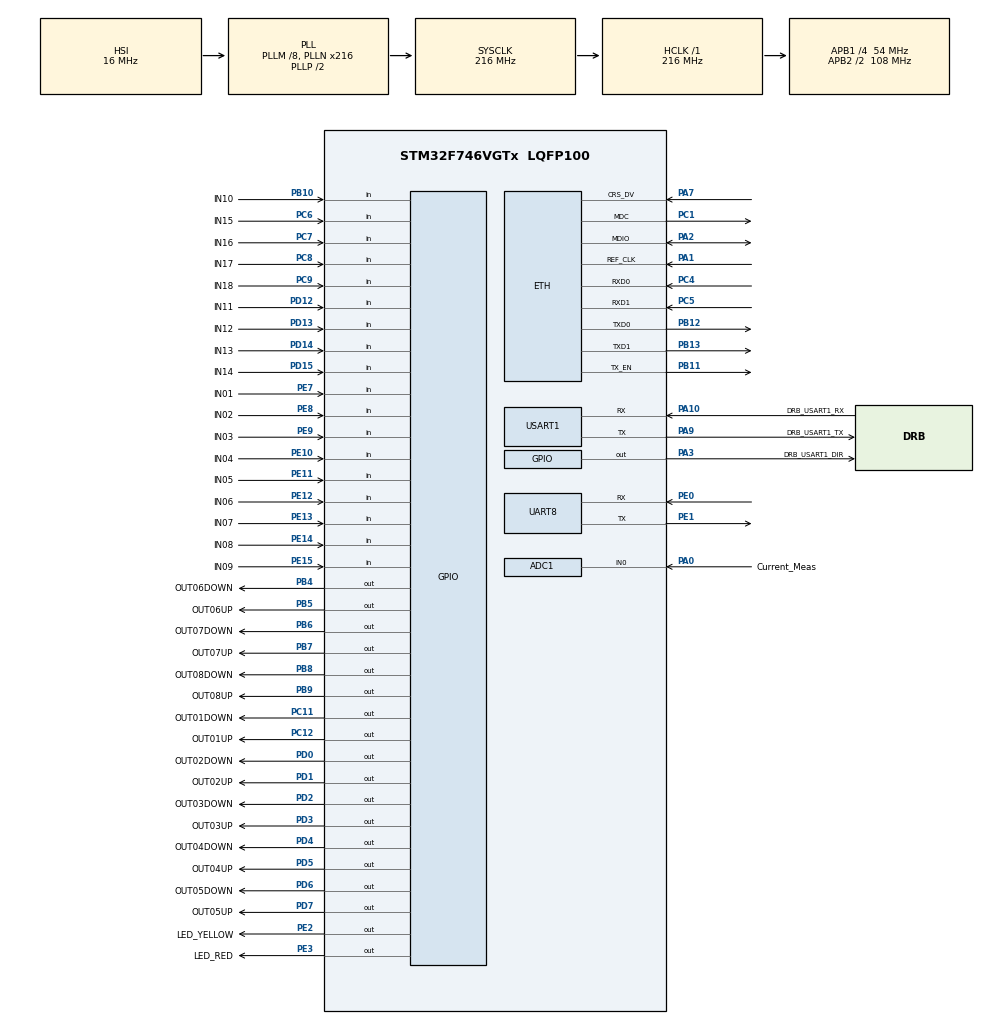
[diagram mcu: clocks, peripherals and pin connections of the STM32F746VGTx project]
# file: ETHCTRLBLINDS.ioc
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ADC1.Channel-4\#ChannelRegularConversion=ADC_CHANNEL_0
ADC1.ClockPrescaler=ADC_CLOCK_SYNC_PCLK_DIV8
ADC1.ContinuousConvMode=ENABLE
ADC1.DMAContinuousRequests=ENABLE
ADC1.EOCSelection=ADC_EOC_SINGLE_CONV
ADC1.InjNumberOfConversion=0
ADC1.NbrOfConversion=1
ADC1.NbrOfConversionFlag=1
ADC1.Rank-4\#ChannelRegularConversion=1
ADC1.SamplingTime-4\#ChannelRegularConversion=ADC_SAMPLETIME_480CYCLES
ADC1.ScanConvMode=ADC_SCAN_DISABLE
ADC1.master=1
CORTEX_M7.CPU_DCache=Disabled
CORTEX_M7.CPU_ICache=Enabled
CORTEX_M7.MPU_Control=__NULL
Dma.ADC1.0.Direction=DMA_PERIPH_TO_MEMORY
Dma.ADC1.0.FIFOMode=DMA_FIFOMODE_DISABLE
Dma.ADC1.0.Instance=DMA2_Stream0
Dma.ADC1.0.MemDataAlignment=DMA_MDATAALIGN_HALFWORD
Dma.ADC1.0.MemInc=DMA_MINC_ENABLE
Dma.ADC1.0.Mode=DMA_CIRCULAR
Dma.ADC1.0.PeriphDataAlignment=DMA_PDATAALIGN_HALFWORD
Dma.ADC1.0.PeriphInc=DMA_PINC_DISABLE
Dma.ADC1.0.Priority=DMA_PRIORITY_MEDIUM
Dma.Request0=ADC1
ETH.AutoNegotiation=ETH_AUTONEGOTIATION_DISABLE
ETH.DuplexMode=ETH_MODE_FULLDUPLEX
ETH.MediaInterface=HAL_ETH_RMII_MODE
ETH.PHY_Name_RMII=userPHY
ETH.PHY_User_Name=KSZ8081
FREERTOS.HEAP_NUMBER=3
FREERTOS.INCLUDE_vTaskPrioritySet=1
FREERTOS.Tasks01=defaultTask,24,256,StartDefaultTask,Default,NULL,Dynamic,NULL,NULL;MqttClientTask,22,512,MqttClient_StartTask,As weak,NULL,Dynamic,NULL,NULL;ScanInputTask,25,512,Dio_StartScanInputTask,As weak,&hadc1,Dynamic,NULL,NULL
FREERTOS.configCHECK_FOR_STACK_OVERFLOW=2
FREERTOS.configENABLE_BACKWARD_COMPATIBILITY=0
FREERTOS.configGENERATE_RUN_TIME_STATS=1
FREERTOS.configMINIMAL_STACK_SIZE=128
FREERTOS.configRECORD_STACK_HIGH_ADDRESS=1
FREERTOS.configTOTAL_HEAP_SIZE=30720
FREERTOS.configUSE_MALLOC_FAILED_HOOK=1
FREERTOS.configUSE_NEWLIB_REENTRANT=1
FREERTOS.configUSE_STATS_FORMATTING_FUNCTIONS=1
LWIP.BSP.number=1
LWIP.CMSIS_VERSION-Enabled=1
LWIP.DEFAULT_THREAD_STACKSIZE=128
LWIP.HTTPD_USE_CUSTOM_FSDATA=1
LWIP.HTTPD_USE_MEM_POOL=0
LWIP.LWIP_ALLOW_MEM_FREE_FROM_OTHER_CONTEXT=1
LWIP.LWIP_AUTOIP=1
LWIP.LWIP_DBG_MIN_LEVEL=LWIP_DBG_LEVEL_ALL
LWIP.LWIP_DHCP_AUTOIP_COOP=1
LWIP.LWIP_DHCP_AUTOIP_COOP_TRIES=1
LWIP.LWIP_DNS=1
LWIP.LWIP_HTTPD=1
LWIP.LWIP_HTTPD_ABORT_ON_CLOSE_MEM_ERROR=1
LWIP.LWIP_HTTPD_CGI=1
LWIP.LWIP_HTTPD_DYNAMIC_HEADERS=1
LWIP.LWIP_HTTPD_KILL_OLD_ON_CONNECTIONS_EXCEEDED=1
LWIP.LWIP_HTTPD_MAX_CGI_PARAMETERS=48
LWIP.LWIP_HTTPD_MAX_REQ_LENGTH=1023
LWIP.LWIP_HTTPD_MAX_TAG_INSERT_LEN=800
LWIP.LWIP_HTTPD_MAX_TAG_NAME_LEN=10
LWIP.LWIP_HTTPD_REQ_BUFSIZE=2048
LWIP.LWIP_HTTPD_SSI=1
LWIP.LWIP_HTTPD_SUPPORT_POST=0
LWIP.LWIP_IGMP=1
LWIP.LWIP_MDNS=1
LWIP.LWIP_MDNS_RESPONDER=1
LWIP.LWIP_MULTICAST_PING=1
LWIP.LWIP_MULTICAST_TX_OPTIONS=1
LWIP.LWIP_NETIF_EXT_STATUS_CALLBACK=0
LWIP.LWIP_NETIF_HOSTNAME=1
LWIP.LWIP_NETIF_STATUS_CALLBACK=1
LWIP.LWIP_NUM_NETIF_CLIENT_DATA=1
LWIP.LWIP_RAM_HEAP_POINTER=0x20040000
LWIP.LWIP_SINGLE_NETIF=1
LWIP.LWIP_TCPIP_CORE_LOCKING=1
LWIP.LWIP_TCPIP_CORE_LOCKING_INPUT=0
LWIP.LWIP_TCPIP_TIMEOUT=1
LWIP.MDNS_DEBUG=LWIP_DBG_OFF
LWIP.MDNS_MAX_SERVICES=1
LWIP.MDNS_RESP_USENETIF_EXTCALLBACK=1
LWIP.MEMP_DEBUG=LWIP_DBG_OFF
LWIP.MEMP_MEM_INIT=1
LWIP.MEMP_NUM_PBUF=64
LWIP.MEMP_NUM_SYS_TIMEOUT=12
LWIP.MEMP_NUM_TCP_PCB=6
LWIP.MEMP_NUM_TCP_PCB_LISTEN=10
LWIP.MEMP_NUM_TCP_SEG=16
LWIP.MEMP_NUM_UDP_PCB=6
LWIP.MEMP_OVERFLOW_CHECK=1
LWIP.MEMP_SANITY_CHECK=1
LWIP.MEM_DEBUG=LWIP_DBG_OFF
LWIP.MEM_OVERFLOW_CHECK=1
LWIP.MEM_SANITY_CHECK=1
LWIP.MEM_SIZE=61440
LWIP.NETIF_DEBUG=LWIP_DBG_OFF
LWIP.PBUF_DEBUG=LWIP_DBG_OFF
LWIP.PBUF_POOL_BUFSIZE=2048
LWIP.PBUF_POOL_SIZE=64
LWIP.SLIPIF_THREAD_STACKSIZE=128
LWIP.TCPIP_THREAD_PRIO=49
LWIP.TCPIP_THREAD_STACKSIZE=4096
LWIP.TCP_OUTPUT_DEBUG=LWIP_DBG_OFF
LWIP.TCP_SND_BUF=2048
LWIP.TCP_SND_QUEUELEN=9
LWIP.TIMERS_DEBUG=LWIP_DBG_OFF
LWIP.Version=v2.1.2_Cube
LWIP0.BSP.STBoard=false
LWIP0.BSP.api=BSP_COMPONENT_DRIVER
LWIP0.BSP.component=USER_PHY
LWIP0.BSP.instance=USER_PHY
LWIP0.BSP.name=Driver_PHY
LWIP0.BSP.semaphore=S_USER_PHY
LWIP0.BSP.solution=USER_PHY
Mcu.Family=STM32F7
Mcu.Name=STM32F746VGTx
Mcu.Package=LQFP100
Mcu.UserConstants=MQTT_REQ_MAX_IN_FLIGHT,70;LWIP_NUM_NETIF_CLIENT_DATA,1;MQTT_OUTPUT_RINGBUF_SIZE,1024;LWIP_DEBUG,1
NVIC.DMA2_Stream0_IRQn=true\:5\:0\:false\:false\:true\:true\:false\:true\:true
NVIC.ETH_IRQn=true\:5\:0\:false\:false\:true\:true\:false\:true\:true
NVIC.PriorityGroup=NVIC_PRIORITYGROUP_4
NVIC.TIM1_UP_TIM10_IRQn=true\:0\:0\:false\:false\:true\:false\:false\:true\:true
NVIC.TimeBase=TIM1_UP_TIM10_IRQn
NVIC.TimeBaseIP=TIM1
PA0/WKUP.GPIO_Label=Current_Meas
PA0/WKUP.Signal=ADCx_IN0
PA1.Mode=RMII
PA1.Signal=ETH_REF_CLK
PA10.GPIO_Label=DRB_USART1_RX
PA10.Mode=Asynchronous
PA10.Signal=USART1_RX
PA2.Mode=RMII
PA2.Signal=ETH_MDIO
PA3.GPIO_Label=DRB_USART1_DIR
PA3.Signal=GPIO_Output
PA7.Mode=RMII
PA7.Signal=ETH_CRS_DV
PA9.GPIO_Label=DRB_USART1_TX
PA9.Mode=Asynchronous
PA9.Signal=USART1_TX
PB10.GPIO_Label=IN10
PB10.GPIO_PuPd=GPIO_PULLDOWN
PB10.Signal=GPIO_Input
PB11.Mode=RMII
PB11.Signal=ETH_TX_EN
PB12.Mode=RMII
PB12.Signal=ETH_TXD0
PB13.Mode=RMII
PB13.Signal=ETH_TXD1
PB4.GPIO_Label=OUT06DOWN
PB4.GPIO_ModeDefaultOutputPP=GPIO_MODE_OUTPUT_PP
PB4.GPIO_PuPd=GPIO_NOPULL
PB4.GPIO_Speed=GPIO_SPEED_FREQ_LOW
PB4.PinState=GPIO_PIN_RESET
PB4.Signal=GPIO_Output
PB5.GPIO_Label=OUT06UP
PB5.GPIO_ModeDefaultOutputPP=GPIO_MODE_OUTPUT_PP
PB5.GPIO_PuPd=GPIO_NOPULL
PB5.GPIO_Speed=GPIO_SPEED_FREQ_LOW
PB5.PinState=GPIO_PIN_RESET
PB5.Signal=GPIO_Output
PB6.GPIO_Label=OUT07DOWN
PB6.GPIO_ModeDefaultOutputPP=GPIO_MODE_OUTPUT_PP
PB6.GPIO_PuPd=GPIO_NOPULL
PB6.GPIO_Speed=GPIO_SPEED_FREQ_LOW
PB6.PinState=GPIO_PIN_RESET
PB6.Signal=GPIO_Output
PB7.GPIO_Label=OUT07UP
PB7.GPIO_ModeDefaultOutputPP=GPIO_MODE_OUTPUT_PP
PB7.GPIO_PuPd=GPIO_NOPULL
PB7.GPIO_Speed=GPIO_SPEED_FREQ_LOW
PB7.PinState=GPIO_PIN_RESET
PB7.Signal=GPIO_Output
PB8.GPIO_Label=OUT08DOWN
PB8.GPIO_ModeDefaultOutputPP=GPIO_MODE_OUTPUT_PP
PB8.GPIO_PuPd=GPIO_NOPULL
PB8.GPIO_Speed=GPIO_SPEED_FREQ_LOW
PB8.PinState=GPIO_PIN_RESET
PB8.Signal=GPIO_Output
PB9.GPIO_Label=OUT08UP
PB9.GPIO_ModeDefaultOutputPP=GPIO_MODE_OUTPUT_PP
PB9.GPIO_PuPd=GPIO_NOPULL
PB9.GPIO_Speed=GPIO_SPEED_FREQ_LOW
PB9.PinState=GPIO_PIN_RESET
PB9.Signal=GPIO_Output
PC1.Mode=RMII
PC1.Signal=ETH_MDC
PC11.GPIO_Label=OUT01DOWN
PC11.GPIO_ModeDefaultOutputPP=GPIO_MODE_OUTPUT_PP
PC11.GPIO_PuPd=GPIO_NOPULL
PC11.GPIO_Speed=GPIO_SPEED_FREQ_LOW
PC11.PinState=GPIO_PIN_RESET
PC11.Signal=GPIO_Output
PC12.GPIO_Label=OUT01UP
PC12.GPIO_ModeDefaultOutputPP=GPIO_MODE_OUTPUT_PP
PC12.GPIO_PuPd=GPIO_NOPULL
PC12.GPIO_Speed=GPIO_SPEED_FREQ_LOW
PC12.PinState=GPIO_PIN_RESET
PC12.Signal=GPIO_Output
PC4.Mode=RMII
PC4.Signal=ETH_RXD0
PC5.Mode=RMII
PC5.Signal=ETH_RXD1
PC6.GPIO_Label=IN15
PC6.GPIO_PuPd=GPIO_PULLDOWN
PC6.Signal=GPIO_Input
PC7.GPIO_Label=IN16
PC7.GPIO_PuPd=GPIO_PULLDOWN
PC7.Signal=GPIO_Input
PC8.GPIO_Label=IN17
PC8.GPIO_PuPd=GPIO_PULLDOWN
PC8.Signal=GPIO_Input
PC9.GPIO_Label=IN18
PC9.GPIO_PuPd=GPIO_PULLDOWN
PC9.Signal=GPIO_Input
PD0.GPIO_Label=OUT02DOWN
PD0.GPIO_ModeDefaultOutputPP=GPIO_MODE_OUTPUT_PP
PD0.GPIO_PuPd=GPIO_NOPULL
PD0.GPIO_Speed=GPIO_SPEED_FREQ_LOW
PD0.PinState=GPIO_PIN_RESET
PD0.Signal=GPIO_Output
PD1.GPIO_Label=OUT02UP
PD1.GPIO_ModeDefaultOutputPP=GPIO_MODE_OUTPUT_PP
PD1.GPIO_PuPd=GPIO_NOPULL
PD1.GPIO_Speed=GPIO_SPEED_FREQ_LOW
PD1.PinState=GPIO_PIN_RESET
PD1.Signal=GPIO_Output
PD12.GPIO_Label=IN11
PD12.GPIO_PuPd=GPIO_PULLDOWN
PD12.Signal=GPIO_Input
PD13.GPIO_Label=IN12
PD13.GPIO_PuPd=GPIO_PULLDOWN
PD13.Signal=GPIO_Input
PD14.GPIO_Label=IN13
PD14.GPIO_PuPd=GPIO_PULLDOWN
PD14.Signal=GPIO_Input
PD15.GPIO_Label=IN14
PD15.GPIO_PuPd=GPIO_PULLDOWN
PD15.Signal=GPIO_Input
PD2.GPIO_Label=OUT03DOWN
PD2.GPIO_ModeDefaultOutputPP=GPIO_MODE_OUTPUT_PP
PD2.GPIO_PuPd=GPIO_NOPULL
PD2.GPIO_Speed=GPIO_SPEED_FREQ_LOW
PD2.PinState=GPIO_PIN_RESET
PD2.Signal=GPIO_Output
PD3.GPIO_Label=OUT03UP
PD3.GPIO_ModeDefaultOutputPP=GPIO_MODE_OUTPUT_PP
PD3.GPIO_PuPd=GPIO_NOPULL
PD3.GPIO_Speed=GPIO_SPEED_FREQ_LOW
PD3.PinState=GPIO_PIN_RESET
PD3.Signal=GPIO_Output
PD4.GPIO_Label=OUT04DOWN
PD4.GPIO_ModeDefaultOutputPP=GPIO_MODE_OUTPUT_PP
PD4.GPIO_PuPd=GPIO_NOPULL
PD4.GPIO_Speed=GPIO_SPEED_FREQ_LOW
PD4.PinState=GPIO_PIN_RESET
PD4.Signal=GPIO_Output
PD5.GPIO_Label=OUT04UP
PD5.GPIO_ModeDefaultOutputPP=GPIO_MODE_OUTPUT_PP
PD5.GPIO_PuPd=GPIO_NOPULL
PD5.GPIO_Speed=GPIO_SPEED_FREQ_LOW
PD5.PinState=GPIO_PIN_RESET
PD5.Signal=GPIO_Output
PD6.GPIO_Label=OUT05DOWN
PD6.GPIO_ModeDefaultOutputPP=GPIO_MODE_OUTPUT_PP
PD6.GPIO_PuPd=GPIO_NOPULL
PD6.GPIO_Speed=GPIO_SPEED_FREQ_LOW
PD6.PinState=GPIO_PIN_RESET
PD6.Signal=GPIO_Output
PD7.GPIO_Label=OUT05UP
PD7.GPIO_ModeDefaultOutputPP=GPIO_MODE_OUTPUT_PP
PD7.GPIO_PuPd=GPIO_NOPULL
PD7.GPIO_Speed=GPIO_SPEED_FREQ_LOW
PD7.PinState=GPIO_PIN_RESET
PD7.Signal=GPIO_Output
PE0.Mode=Asynchronous
PE0.Signal=UART8_RX
PE1.Mode=Asynchronous
PE1.Signal=UART8_TX
PE10.GPIO_Label=IN04
PE10.GPIO_PuPd=GPIO_PULLDOWN
PE10.Signal=GPIO_Input
PE11.GPIO_Label=IN05
PE11.GPIO_PuPd=GPIO_PULLDOWN
PE11.Signal=GPIO_Input
PE12.GPIO_Label=IN06
PE12.GPIO_PuPd=GPIO_PULLDOWN
PE12.Signal=GPIO_Input
PE13.GPIO_Label=IN07
PE13.GPIO_PuPd=GPIO_PULLDOWN
PE13.Signal=GPIO_Input
PE14.GPIO_Label=IN08
PE14.GPIO_PuPd=GPIO_PULLDOWN
PE14.Signal=GPIO_Input
PE15.GPIO_Label=IN09
PE15.GPIO_PuPd=GPIO_PULLDOWN
PE15.Signal=GPIO_Input
PE2.GPIO_Label=LED_YELLOW
PE2.PinState=GPIO_PIN_SET
PE2.Signal=GPIO_Output
PE3.GPIO_Label=LED_RED
PE3.GPIO_PuPd=GPIO_NOPULL
PE3.PinState=GPIO_PIN_RESET
PE3.Signal=GPIO_Output
PE7.GPIO_Label=IN01
PE7.GPIO_PuPd=GPIO_PULLDOWN
PE7.Signal=GPIO_Input
PE8.GPIO_Label=IN02
PE8.GPIO_PuPd=GPIO_PULLDOWN
PE8.Signal=GPIO_Input
PE9.GPIO_Label=IN03
PE9.GPIO_PuPd=GPIO_PULLDOWN
PE9.Signal=GPIO_Input
PH0/OSC_IN.Mode=HSE-External-Oscillator
PH0/OSC_IN.Signal=RCC_OSC_IN
PH1/OSC_OUT.Mode=HSE-External-Oscillator
PH1/OSC_OUT.Signal=RCC_OSC_OUT
ProjectManager.HeapSize=0x200
ProjectManager.StackSize=0x400
ProjectManager.TargetToolchain=CMake
RCC.AHBFreq_Value=216000000
RCC.APB1CLKDivider=RCC_HCLK_DIV4
RCC.APB1Freq_Value=54000000
RCC.APB1TimFreq_Value=108000000
RCC.APB2CLKDivider=RCC_HCLK_DIV2
RCC.APB2Freq_Value=108000000
RCC.APB2TimFreq_Value=216000000
RCC.CortexFreq_Value=216000000
RCC.HCLKFreq_Value=216000000
RCC.HSE_VALUE=12000000
RCC.HSI_VALUE=16000000
RCC.LSE_VALUE=32768
RCC.PLLM=8
RCC.PLLN=216
RCC.SYSCLKFreq_VALUE=216000000
RCC.SYSCLKSource=RCC_SYSCLKSOURCE_PLLCLK
RCC.USBFreq_Value=216000000
RCC.VCOOutputFreq_Value=432000000
SH.ADCx_IN0.0=ADC1_IN0,IN0
USART1.VirtualMode-Asynchronous=VM_ASYNC
VP_FREERTOS_VS_CMSIS_V2.Mode=CMSIS_V2
VP_LWIP_VS_Enabled.Mode=Enabled
VP_SYS_VS_tim1.Mode=TIM1
board=custom

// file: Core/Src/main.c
/* USER CODE BEGIN Header */
/**
  ******************************************************************************
  * @file           : main.c
  * @brief          : Main program body
  ******************************************************************************
  * @attention
  *
  * <h2><center>&copy; Copyright (c) 2021 STMicroelectronics.
  * All rights reserved.</center></h2>
  *
  * This software component is licensed by ST under BSD 3-Clause license,
  * the "License"; You may not use this file except in compliance with the
  * License. You may obtain a copy of the License at:
  *                        opensource.org/licenses/BSD-3-Clause
  *
  ******************************************************************************
  */
/* USER CODE END Header */
#include "main.h"
#include "cmsis_os.h"
#include "lwip.h"

/* USER CODE BEGIN Includes */
#include  <errno.h>
#include  <sys/unistd.h> // STDOUT_FILENO, STDERR_FILENO
#include "MqttClient.h"
#include "lwip/apps/httpd.h"
#include "string.h"
#include <stdio.h>
#include <stdbool.h>
#include "web.h"
#include "dio.h"
#include "lwip/apps/mdns.h"
#include "jumpcode.h"
/* USER CODE END Includes */

ADC_HandleTypeDef hadc1;
DMA_HandleTypeDef hdma_adc1;

UART_HandleTypeDef huart8;
UART_HandleTypeDef huart1;

/* Definitions for defaultTask */
osThreadId_t defaultTaskHandle;
const osThreadAttr_t defaultTask_attributes = {
  .name = "defaultTask",
  .stack_size = 256 * 4,
  .priority = (osPriority_t) osPriorityNormal,
};
/* Definitions for MqttClientTask */
osThreadId_t MqttClientTaskHandle;
const osThreadAttr_t MqttClientTask_attributes = {
  .name = "MqttClientTask",
  .stack_size = 512 * 4,
  .priority = (osPriority_t) osPriorityBelowNormal6,
};
/* Definitions for ScanInputTask */
osThreadId_t ScanInputTaskHandle;
const osThreadAttr_t ScanInputTask_attributes = {
  .name = "ScanInputTask",
  .stack_size = 512 * 4,
  .priority = (osPriority_t) osPriorityNormal1,
};
/* USER CODE BEGIN PV */

uint8_t reset = 0;

static char mqtttopic[] = "ETH_CTRL_B";
struct ee_storage_s eemqtttopic = {
		.VirtAddrStartNb = 1,
		.VirtWordCount = 5,
		.pData = (uint16_t*)mqtttopic};

uint32_t blindmovingtimeup[] = {120000,120000,120000,120000,120000,120000,120000,120000};
struct ee_storage_s eeblindmovingtimeup = {
		.VirtAddrStartNb = 13,
		.VirtWordCount = 16,
		.pData = (uint16_t*)&blindmovingtimeup};

uint32_t blindmovingtimedown[] = {120000,120000,120000,120000,120000,120000,120000,120000};
struct ee_storage_s eeblindmovingtimedown = {
        .VirtAddrStartNb = 29,
        .VirtWordCount = 16,
        .pData = (uint16_t*)&blindmovingtimedown};

uint16_t currentthreshold  = 200;
struct ee_storage_s eecurrentthreshold = {
        .VirtAddrStartNb = 45,
        .VirtWordCount = 1,
        .pData = (uint16_t*)&eecurrentthreshold};

uint8_t blindpos50[] = {50,50,50,50,50,50,50,50};
struct ee_storage_s eeblindpos50 = {
        .VirtAddrStartNb = 46,
        .VirtWordCount = 4,
        .pData = (uint16_t*)&blindpos50};

bool raffstore[] = {false,false,false,false,false,false,false,false};
struct ee_storage_s eeraffstore = {
        .VirtAddrStartNb = 50,
        .VirtWordCount = 4,
        .pData = (uint16_t*)&raffstore};

uint16_t raffmovingtime[] = {1000,1000,1000,1000,1000,1000,1000,1000};
struct ee_storage_s eeraffmovingtime = {
        .VirtAddrStartNb = 54,
        .VirtWordCount = 8,
        .pData = (uint16_t*)&raffmovingtime};

uint16_t blindinputmatrix[] = {1+256,2+256,4+256,8+256,16+256,32+256,64+256,128+256};
struct ee_storage_s eeblindinputmatrix = {
        .VirtAddrStartNb = 62,
        .VirtWordCount = 8,
        .pData = (uint16_t*)&blindinputmatrix};

bool position_function_active[] = {true,true,true,true,true,true,true,true};
struct ee_storage_s eeposition_function_active = {
        .VirtAddrStartNb = 70,
        .VirtWordCount = 4,
        .pData = (uint16_t*)&position_function_active};

static union
{
  char host[MQTT_HOST_STORAGE_LEN];
  uint16_t words[MQTT_HOST_STORAGE_LEN / 2U];
} mqtthost_storage = {.host = "192.168.1.3"};

struct ee_storage_s eemqtthost = {
  .VirtAddrStartNb = 74,
  .VirtWordCount = (MQTT_HOST_STORAGE_LEN / 2U),
  .pData = mqtthost_storage.words};

uint16_t VirtAddVarTab[90];
/* USER CODE END PV */

void SystemClock_Config(void);
static void MX_GPIO_Init(void);
static void MX_DMA_Init(void);
static void MX_ADC1_Init(void);
static void MX_UART8_Init(void);
static void MX_USART1_UART_Init(void);
void StartDefaultTask(void *argument);
void MqttClient_StartTask(void *argument);
void Dio_StartScanInputTask(void *argument);

/* USER CODE BEGIN 0 */
int _write(int file, char *data, int len)
{
   if ((file != STDOUT_FILENO) && (file != STDERR_FILENO))
   {
      errno = EBADF;
      return -1;
   }

   HAL_UART_Transmit(&huart8, (uint8_t*)data, len, 1000);

   for(int i=0 ; i<len ; i++)
   {
	 ITM_SendChar((*data++));
   }

   return 0;
}

/* USER CODE END 0 */

int main(void)
{

  /* Enable the CPU Cache */

  /* Enable I-Cache---------------------------------------------------------*/
  SCB_EnableICache();

  /* MCU Configuration--------------------------------------------------------*/

  /* Reset of all peripherals, Initializes the Flash interface and the Systick. */
  HAL_Init();

  /* Configure the system clock */
  SystemClock_Config();

  /* Initialize all configured peripherals */
  MX_GPIO_Init();
  MX_DMA_Init();
  MX_ADC1_Init();
  MX_UART8_Init();
  MX_USART1_UART_Init();
  /* USER CODE BEGIN 2 */
  printf("Start Application\r\n");
  printf("compiled " __DATE__ " " __TIME__ "\r\n");
  Dio_InitBlinds();
  Dio_InitDoubleswitches();
  /* Unlock the Flash Program Erase controller */
  if( HAL_FLASH_Unlock() != HAL_OK)
  {
    Error_Handler();
  }
    /* EEPROM Init */
    if(EE_Init() == EE_OK)
    {

        if(EE_ReadStorage(&eemqtttopic))
        {
            EE_WriteStorage(&eemqtttopic); //Write default to flash
        }
        MqttClient_SetMQTTTopic((char*) eemqtttopic.pData);

        if(EE_ReadStorage(&eemqtthost))
        {
            // Migrate legacy layout (2 words IPv4 at same virtual start addresses).
            ip_addr_t legacy_host = IPADDR4_INIT_BYTES(192,168,1,3);
            struct ee_storage_s legacy_eemqtthost = {
                    .VirtAddrStartNb = eemqtthost.VirtAddrStartNb,
                    .VirtWordCount = 2,
                    .pData = (uint16_t*)&legacy_host};

            if(EE_ReadStorage(&legacy_eemqtthost) == 0)
            {
                snprintf((char*)eemqtthost.pData, MQTT_HOST_STORAGE_LEN, "%s", ipaddr_ntoa(&legacy_host));
            }

            EE_WriteStorage(&eemqtthost); //Write default/migrated value to flash
        }
        MqttClient_SetMQTTHostString((char*)eemqtthost.pData);

        if(EE_ReadStorage(&eeblindmovingtimeup))
        {
            EE_WriteStorage(&eeblindmovingtimeup); //Write default to flash
        }
        Dio_SetBlindsMovingTimeUp((uint32_t*) eeblindmovingtimeup.pData);

        if(EE_ReadStorage(&eeblindmovingtimedown))
        {
            EE_WriteStorage(&eeblindmovingtimedown); //Write default to flash
        }
        Dio_SetBlindsMovingTimeDown((uint32_t*) eeblindmovingtimedown.pData);

        if(EE_ReadStorage(&eecurrentthreshold))
        {
            EE_WriteStorage(&eecurrentthreshold); //Write default to flash
        }
        Dio_SetBlindcurrentThreshold(currentthreshold);

        if(EE_ReadStorage(&eeblindpos50))
        {
            EE_WriteStorage(&eeblindpos50); //Write default to flash
        }
        Dio_SetBlindsPos50((uint8_t*) eeblindpos50.pData);

        if(EE_ReadStorage(&eeraffstore))
        {
            EE_WriteStorage(&eeraffstore); //Write default to flash
        }
        Dio_SetRaffstore((bool*) eeraffstore.pData);

        if(EE_ReadStorage(&eeraffmovingtime))
        {
            EE_WriteStorage(&eeraffmovingtime); //Write default to flash
        }
        Dio_SetRaffstoreMovingtime((uint16_t*) eeraffmovingtime.pData);

        if(EE_ReadStorage(&eeblindinputmatrix))
        {
            EE_WriteStorage(&eeblindinputmatrix); //Write default to flash
        }
        Dio_SetBlindInputMatrix((uint16_t*) eeblindinputmatrix.pData);

        if(EE_ReadStorage(&eeposition_function_active))
        {
            EE_WriteStorage(&eeposition_function_active); //Write default to flash
        }
        Dio_SetPositionFunction((bool*) eeposition_function_active.pData);
    }
    else
    {
        printf("ERROR: EE_Init failed\r\n");
    }

    if(HAL_FLASH_Lock() != HAL_OK)
    {
        Error_Handler();
    }
  /* USER CODE END 2 */

  /* Init scheduler */
  osKernelInitialize();

  /* Create the thread(s) */
  /* creation of defaultTask */
  defaultTaskHandle = osThreadNew(StartDefaultTask, NULL, &defaultTask_attributes);

  /* creation of MqttClientTask */
  MqttClientTaskHandle = osThreadNew(MqttClient_StartTask, NULL, &MqttClientTask_attributes);

  /* creation of ScanInputTask */
  ScanInputTaskHandle = osThreadNew(Dio_StartScanInputTask, (void*) &hadc1, &ScanInputTask_attributes);

  /* Start scheduler */
  osKernelStart();

  /* We should never get here as control is now taken by the scheduler */

  /* Infinite loop */
  while (1)
  {

  }
}

void SystemClock_Config(void)
{
  RCC_OscInitTypeDef RCC_OscInitStruct = {0};
  RCC_ClkInitTypeDef RCC_ClkInitStruct = {0};

  /** Configure the main internal regulator output voltage
  */
  __HAL_RCC_PWR_CLK_ENABLE();
  __HAL_PWR_VOLTAGESCALING_CONFIG(PWR_REGULATOR_VOLTAGE_SCALE1);

  /** Initializes the RCC Oscillators according to the specified parameters
  * in the RCC_OscInitTypeDef structure.
  */
  RCC_OscInitStruct.OscillatorType = RCC_OSCILLATORTYPE_HSI;
  RCC_OscInitStruct.HSIState = RCC_HSI_ON;
  RCC_OscInitStruct.HSICalibrationValue = RCC_HSICALIBRATION_DEFAULT;
  RCC_OscInitStruct.PLL.PLLState = RCC_PLL_ON;
  RCC_OscInitStruct.PLL.PLLSource = RCC_PLLSOURCE_HSI;
  RCC_OscInitStruct.PLL.PLLM = 8;
  RCC_OscInitStruct.PLL.PLLN = 216;
  RCC_OscInitStruct.PLL.PLLP = RCC_PLLP_DIV2;
  RCC_OscInitStruct.PLL.PLLQ = 2;
  if (HAL_RCC_OscConfig(&RCC_OscInitStruct) != HAL_OK)
  {
    Error_Handler();
  }

  /** Activate the Over-Drive mode
  */
  if (HAL_PWREx_EnableOverDrive() != HAL_OK)
  {
    Error_Handler();
  }

  /** Initializes the CPU, AHB and APB buses clocks
  */
  RCC_ClkInitStruct.ClockType = RCC_CLOCKTYPE_HCLK|RCC_CLOCKTYPE_SYSCLK
                              |RCC_CLOCKTYPE_PCLK1|RCC_CLOCKTYPE_PCLK2;
  RCC_ClkInitStruct.SYSCLKSource = RCC_SYSCLKSOURCE_PLLCLK;
  RCC_ClkInitStruct.AHBCLKDivider = RCC_SYSCLK_DIV1;
  RCC_ClkInitStruct.APB1CLKDivider = RCC_HCLK_DIV4;
  RCC_ClkInitStruct.APB2CLKDivider = RCC_HCLK_DIV2;

  if (HAL_RCC_ClockConfig(&RCC_ClkInitStruct, FLASH_LATENCY_7) != HAL_OK)
  {
    Error_Handler();
  }
}

static void MX_ADC1_Init(void)
{

  /* USER CODE BEGIN ADC1_Init 0 */

	//HAL_ADC_Init will init DMA too, therefor the DMA Controller clk must be enabled. This is a bug in CubeMX
	  /* DMA controller clock enable */
	  __HAL_RCC_DMA2_CLK_ENABLE();
  /* USER CODE END ADC1_Init 0 */

  ADC_ChannelConfTypeDef sConfig = {0};

  /** Configure the global features of the ADC (Clock, Resolution, Data Alignment and number of conversion)
  */
  hadc1.Instance = ADC1;
  hadc1.Init.ClockPrescaler = ADC_CLOCK_SYNC_PCLK_DIV8;
  hadc1.Init.Resolution = ADC_RESOLUTION_12B;
  hadc1.Init.ScanConvMode = ADC_SCAN_DISABLE;
  hadc1.Init.ContinuousConvMode = ENABLE;
  hadc1.Init.DiscontinuousConvMode = DISABLE;
  hadc1.Init.ExternalTrigConvEdge = ADC_EXTERNALTRIGCONVEDGE_NONE;
  hadc1.Init.ExternalTrigConv = ADC_SOFTWARE_START;
  hadc1.Init.DataAlign = ADC_DATAALIGN_RIGHT;
  hadc1.Init.NbrOfConversion = 1;
  hadc1.Init.DMAContinuousRequests = ENABLE;
  hadc1.Init.EOCSelection = ADC_EOC_SINGLE_CONV;
  if (HAL_ADC_Init(&hadc1) != HAL_OK)
  {
    Error_Handler();
  }

  /** Configure for the selected ADC regular channel its corresponding rank in the sequencer and its sample time.
  */
  sConfig.Channel = ADC_CHANNEL_0;
  sConfig.Rank = ADC_REGULAR_RANK_1;
  sConfig.SamplingTime = ADC_SAMPLETIME_480CYCLES;
  if (HAL_ADC_ConfigChannel(&hadc1, &sConfig) != HAL_OK)
  {
    Error_Handler();
  }

}

static void MX_UART8_Init(void)
{

  huart8.Instance = UART8;
  huart8.Init.BaudRate = 115200;
  huart8.Init.WordLength = UART_WORDLENGTH_8B;
  huart8.Init.StopBits = UART_STOPBITS_1;
  huart8.Init.Parity = UART_PARITY_NONE;
  huart8.Init.Mode = UART_MODE_TX_RX;
  huart8.Init.HwFlowCtl = UART_HWCONTROL_NONE;
  huart8.Init.OverSampling = UART_OVERSAMPLING_16;
  huart8.Init.OneBitSampling = UART_ONE_BIT_SAMPLE_DISABLE;
  huart8.AdvancedInit.AdvFeatureInit = UART_ADVFEATURE_NO_INIT;
  if (HAL_UART_Init(&huart8) != HAL_OK)
  {
    Error_Handler();
  }

}

static void MX_USART1_UART_Init(void)
{

  huart1.Instance = USART1;
  huart1.Init.BaudRate = 115200;
  huart1.Init.WordLength = UART_WORDLENGTH_8B;
  huart1.Init.StopBits = UART_STOPBITS_1;
  huart1.Init.Parity = UART_PARITY_NONE;
  huart1.Init.Mode = UART_MODE_TX_RX;
  huart1.Init.HwFlowCtl = UART_HWCONTROL_NONE;
  huart1.Init.OverSampling = UART_OVERSAMPLING_16;
  huart1.Init.OneBitSampling = UART_ONE_BIT_SAMPLE_DISABLE;
  huart1.AdvancedInit.AdvFeatureInit = UART_ADVFEATURE_NO_INIT;
  if (HAL_UART_Init(&huart1) != HAL_OK)
  {
    Error_Handler();
  }

}

static void MX_DMA_Init(void)
{

  /* DMA controller clock enable */
  __HAL_RCC_DMA2_CLK_ENABLE();

  /* DMA interrupt init */
  /* DMA2_Stream0_IRQn interrupt configuration */
  HAL_NVIC_SetPriority(DMA2_Stream0_IRQn, 5, 0);
  HAL_NVIC_EnableIRQ(DMA2_Stream0_IRQn);

}

static void MX_GPIO_Init(void)
{
  GPIO_InitTypeDef GPIO_InitStruct = {0};

  /* GPIO Ports Clock Enable */
  __HAL_RCC_GPIOE_CLK_ENABLE();
  __HAL_RCC_GPIOH_CLK_ENABLE();
  __HAL_RCC_GPIOC_CLK_ENABLE();
  __HAL_RCC_GPIOA_CLK_ENABLE();
  __HAL_RCC_GPIOB_CLK_ENABLE();
  __HAL_RCC_GPIOD_CLK_ENABLE();

  /*Configure GPIO pin Output Level */
  HAL_GPIO_WritePin(LED_YELLOW_GPIO_Port, LED_YELLOW_Pin, GPIO_PIN_SET);

  /*Configure GPIO pin Output Level */
  HAL_GPIO_WritePin(LED_RED_GPIO_Port, LED_RED_Pin, GPIO_PIN_RESET);

  /*Configure GPIO pin Output Level */
  HAL_GPIO_WritePin(DRB_USART1_DIR_GPIO_Port, DRB_USART1_DIR_Pin, GPIO_PIN_RESET);

  /*Configure GPIO pin Output Level */
  HAL_GPIO_WritePin(GPIOC, OUT01DOWN_Pin|OUT01UP_Pin, GPIO_PIN_RESET);

  /*Configure GPIO pin Output Level */
  HAL_GPIO_WritePin(GPIOD, OUT02DOWN_Pin|OUT02UP_Pin|OUT03DOWN_Pin|OUT03UP_Pin
                          |OUT04DOWN_Pin|OUT04UP_Pin|OUT05DOWN_Pin|OUT05UP_Pin, GPIO_PIN_RESET);

  /*Configure GPIO pin Output Level */
  HAL_GPIO_WritePin(GPIOB, OUT06DOWN_Pin|OUT06UP_Pin|OUT07DOWN_Pin|OUT07UP_Pin
                          |OUT08DOWN_Pin|OUT08UP_Pin, GPIO_PIN_RESET);

  /*Configure GPIO pins : LED_YELLOW_Pin LED_RED_Pin */
  GPIO_InitStruct.Pin = LED_YELLOW_Pin|LED_RED_Pin;
  GPIO_InitStruct.Mode = GPIO_MODE_OUTPUT_PP;
  GPIO_InitStruct.Pull = GPIO_NOPULL;
  GPIO_InitStruct.Speed = GPIO_SPEED_FREQ_LOW;
  HAL_GPIO_Init(GPIOE, &GPIO_InitStruct);

  /*Configure GPIO pin : DRB_USART1_DIR_Pin */
  GPIO_InitStruct.Pin = DRB_USART1_DIR_Pin;
  GPIO_InitStruct.Mode = GPIO_MODE_OUTPUT_PP;
  GPIO_InitStruct.Pull = GPIO_NOPULL;
  GPIO_InitStruct.Speed = GPIO_SPEED_FREQ_LOW;
  HAL_GPIO_Init(DRB_USART1_DIR_GPIO_Port, &GPIO_InitStruct);

  /*Configure GPIO pins : IN01_Pin IN02_Pin IN03_Pin IN04_Pin
                           IN05_Pin IN06_Pin IN07_Pin IN08_Pin
                           IN09_Pin */
  GPIO_InitStruct.Pin = IN01_Pin|IN02_Pin|IN03_Pin|IN04_Pin
                          |IN05_Pin|IN06_Pin|IN07_Pin|IN08_Pin
                          |IN09_Pin;
  GPIO_InitStruct.Mode = GPIO_MODE_INPUT;
  GPIO_InitStruct.Pull = GPIO_PULLDOWN;
  HAL_GPIO_Init(GPIOE, &GPIO_InitStruct);

  /*Configure GPIO pin : IN10_Pin */
  GPIO_InitStruct.Pin = IN10_Pin;
  GPIO_InitStruct.Mode = GPIO_MODE_INPUT;
  GPIO_InitStruct.Pull = GPIO_PULLDOWN;
  HAL_GPIO_Init(IN10_GPIO_Port, &GPIO_InitStruct);

  /*Configure GPIO pins : IN11_Pin IN12_Pin IN13_Pin IN14_Pin */
  GPIO_InitStruct.Pin = IN11_Pin|IN12_Pin|IN13_Pin|IN14_Pin;
  GPIO_InitStruct.Mode = GPIO_MODE_INPUT;
  GPIO_InitStruct.Pull = GPIO_PULLDOWN;
  HAL_GPIO_Init(GPIOD, &GPIO_InitStruct);

  /*Configure GPIO pins : IN15_Pin IN16_Pin IN17_Pin IN18_Pin */
  GPIO_InitStruct.Pin = IN15_Pin|IN16_Pin|IN17_Pin|IN18_Pin;
  GPIO_InitStruct.Mode = GPIO_MODE_INPUT;
  GPIO_InitStruct.Pull = GPIO_PULLDOWN;
  HAL_GPIO_Init(GPIOC, &GPIO_InitStruct);

  /*Configure GPIO pins : OUT01DOWN_Pin OUT01UP_Pin */
  GPIO_InitStruct.Pin = OUT01DOWN_Pin|OUT01UP_Pin;
  GPIO_InitStruct.Mode = GPIO_MODE_OUTPUT_PP;
  GPIO_InitStruct.Pull = GPIO_NOPULL;
  GPIO_InitStruct.Speed = GPIO_SPEED_FREQ_LOW;
  HAL_GPIO_Init(GPIOC, &GPIO_InitStruct);

  /*Configure GPIO pins : OUT02DOWN_Pin OUT02UP_Pin OUT03DOWN_Pin OUT03UP_Pin
                           OUT04DOWN_Pin OUT04UP_Pin OUT05DOWN_Pin OUT05UP_Pin */
  GPIO_InitStruct.Pin = OUT02DOWN_Pin|OUT02UP_Pin|OUT03DOWN_Pin|OUT03UP_Pin
                          |OUT04DOWN_Pin|OUT04UP_Pin|OUT05DOWN_Pin|OUT05UP_Pin;
  GPIO_InitStruct.Mode = GPIO_MODE_OUTPUT_PP;
  GPIO_InitStruct.Pull = GPIO_NOPULL;
  GPIO_InitStruct.Speed = GPIO_SPEED_FREQ_LOW;
  HAL_GPIO_Init(GPIOD, &GPIO_InitStruct);

  /*Configure GPIO pins : OUT06DOWN_Pin OUT06UP_Pin OUT07DOWN_Pin OUT07UP_Pin
                           OUT08DOWN_Pin OUT08UP_Pin */
  GPIO_InitStruct.Pin = OUT06DOWN_Pin|OUT06UP_Pin|OUT07DOWN_Pin|OUT07UP_Pin
                          |OUT08DOWN_Pin|OUT08UP_Pin;
  GPIO_InitStruct.Mode = GPIO_MODE_OUTPUT_PP;
  GPIO_InitStruct.Pull = GPIO_NOPULL;
  GPIO_InitStruct.Speed = GPIO_SPEED_FREQ_LOW;
  HAL_GPIO_Init(GPIOB, &GPIO_InitStruct);

}

/* USER CODE BEGIN 4 */
#if LWIP_MDNS_RESPONDER
static void srv_txt(struct mdns_service *service, void *txt_userdata)
{
  err_t res;
  LWIP_UNUSED_ARG(txt_userdata);

  res = mdns_resp_add_service_txtitem(service, "path=/", 6);
  LWIP_ERROR("mdns add service txt failed\n", (res == ERR_OK), return);
}
#endif

void setReset(void)
{
    reset = 1;
}

/* USER CODE END 4 */

void StartDefaultTask(void *argument)
{
  /* init code for LWIP */
  MX_LWIP_Init();
  /* USER CODE BEGIN 5 */
  printf("StartDefaultTask\r\n");
  // netif_set_hostname(&gnetif,mqtttopic);
  httpd_init();
  // initializing CGI  [= CGI #7 =]
  Web_CGIinit();
  Web_SSIinit();
  mdns_resp_add_service(netif_default, "Blinds configuration", "_http", DNSSD_PROTO_TCP, 80,300, srv_txt, NULL);
  //mdns_resp_announce(netif_default);
  /* Infinite loop */
  for(;;)
  {
    osDelay(1000);
    HAL_GPIO_TogglePin(LED_YELLOW_GPIO_Port, LED_YELLOW_Pin);
    if(reset)
    {
        setJumpCode(BOOT, 0);
        RESET_CMD();
    }
  }
  /* USER CODE END 5 */
}

__weak void MqttClient_StartTask(void *argument)
{
  for(;;)
  {
    osDelay(1);
  }
}

__weak void Dio_StartScanInputTask(void *argument)
{
  for(;;)
  {
    osDelay(1);
  }
}

void HAL_TIM_PeriodElapsedCallback(TIM_HandleTypeDef *htim)
{
  if (htim->Instance == TIM1)
  {
    HAL_IncTick();
  }
}

void Error_Handler(void)
{
  /* USER CODE BEGIN Error_Handler_Debug */
  /* User can add his own implementation to report the HAL error return state */
  __disable_irq();
  HAL_GPIO_WritePin(LED_RED_GPIO_Port, LED_RED_Pin,GPIO_PIN_SET);
  //go to Bootloader after restart
  setJumpCode(BOOT, 0);
  while (1)
  {
	  osDelay(100);
	  //HAL_GPIO_TogglePin(LED_RED_GPIO_Port, LED_RED_Pin);
  }
  /* USER CODE END Error_Handler_Debug */
}

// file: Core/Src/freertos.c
/* USER CODE BEGIN Header */
/**
  ******************************************************************************
  * File Name          : freertos.c
  * Description        : Code for freertos applications
  ******************************************************************************
  * @attention
  *
  * <h2><center>&copy; Copyright (c) 2021 STMicroelectronics.
  * All rights reserved.</center></h2>
  *
  * This software component is licensed by ST under Ultimate Liberty license
  * SLA0044, the "License"; You may not use this file except in compliance with
  * the License. You may obtain a copy of the License at:
  *                             www.st.com/SLA0044
  *
  ******************************************************************************
  */
/* USER CODE END Header */

#include "FreeRTOS.h"
#include "task.h"
#include "main.h"

/* Hook prototypes */
void configureTimerForRunTimeStats(void);
unsigned long getRunTimeCounterValue(void);
void vApplicationStackOverflowHook(TaskHandle_t xTask, signed char *pcTaskName);
void vApplicationMallocFailedHook(void);

/* USER CODE BEGIN 1 */
/* Functions needed when configGENERATE_RUN_TIME_STATS is on */
__weak void configureTimerForRunTimeStats(void)
{

}

__weak unsigned long getRunTimeCounterValue(void)
{
return 0;
}
/* USER CODE END 1 */

/* USER CODE BEGIN 4 */
void vApplicationStackOverflowHook(TaskHandle_t xTask, signed char *pcTaskName)
{
	HAL_GPIO_WritePin(LED_RED_GPIO_Port, LED_RED_Pin,GPIO_PIN_SET);
   /* Run time stack overflow checking is performed if
   configCHECK_FOR_STACK_OVERFLOW is defined to 1 or 2. This hook function is
   called if a stack overflow is detected. */
}
/* USER CODE END 4 */

/* USER CODE BEGIN 5 */
void vApplicationMallocFailedHook(void)
{
   /* vApplicationMallocFailedHook() will only be called if
   configUSE_MALLOC_FAILED_HOOK is set to 1 in FreeRTOSConfig.h. It is a hook
   function that will get called if a call to pvPortMalloc() fails.
   pvPortMalloc() is called internally by the kernel whenever a task, queue,
   timer or semaphore is created. It is also called by various parts of the
   demo application. If heap_1.c or heap_2.c are used, then the size of the
   heap available to pvPortMalloc() is defined by configTOTAL_HEAP_SIZE in
   FreeRTOSConfig.h, and the xPortGetFreeHeapSize() API function can be used
   to query the size of free heap space that remains (although it does not
   provide information on how the remaining heap might be fragmented). */
}
/* USER CODE END 5 */
